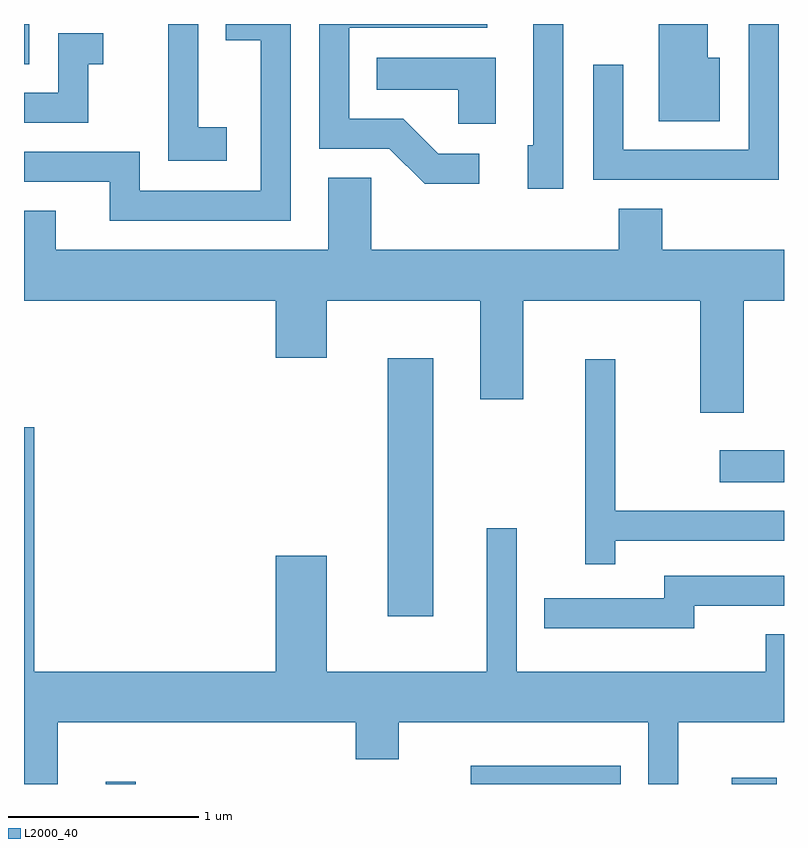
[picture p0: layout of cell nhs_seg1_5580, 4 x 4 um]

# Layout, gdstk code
import gdstk
lib = gdstk.Library(unit=1e-6, precision=1e-09)
def R(c, l, rs):  # rectangles x0, y0, x1, y1
    for r in rs: c.add(gdstk.rectangle(r[:2], r[2:], *l))
def P(c, l, *ps):  # polygons
    for p in ps: c.add(gdstk.Polygon(p, *l))
L2000_40 = (2000, 40)

nhs_seg1_5580 = lib.new_cell('nhs_seg1_5580')
R(nhs_seg1_5580, L2000_40, [(354.041,883.712,354.199,883.723), (355.961,883.712,356.753,883.809), (357.336,883.712,357.574,883.744), (355.526,884.596,355.764,885.954), (357.273,885.301,357.611,885.469), (353.611,887.501,353.639,887.712)])
P(nhs_seg1_5580, L2000_40, [(356.008,887.029),(355.792,887.029),(355.607,887.214),(355.324,887.214),(355.324,887.691),(356.048,887.691),(356.048,887.712),(355.166,887.712),(355.166,887.056),(355.534,887.056),(355.719,886.871),(356.008,886.871)],
  [(356.449,887.712),(356.291,887.712),(356.291,887.074),(356.261,887.074),(356.261,886.846),(356.449,886.846)],
  [(355.014,887.712),(354.673,887.712),(354.673,887.626),(354.856,887.626),(354.856,886.834),(354.219,886.834),(354.219,887.039),(353.611,887.039),(353.611,886.881),(354.061,886.881),(354.061,886.676),(355.014,886.676)],
  [(357.274,887.534),(357.209,887.534),(357.209,887.712),(356.951,887.712),(356.951,887.201),(357.274,887.201)],
  [(354.679,887.169),(354.529,887.169),(354.529,887.712),(354.371,887.712),(354.371,886.991),(354.679,886.991)],
  [(357.584,887.712),(357.426,887.712),(357.426,887.049),(356.764,887.049),(356.764,887.498),(356.606,887.498),(356.606,886.891),(357.584,886.891)],
  [(353.949,887.501),(354.028,887.501),(354.028,887.664),(353.791,887.664),(353.791,887.349),(353.611,887.349),(353.611,887.191),(353.949,887.191)],
  [(356.094,887.534),(355.468,887.534),(355.468,887.366),(355.896,887.366),(355.896,887.186),(356.094,887.186)],
  [(357.399,886.256),(357.611,886.256),(357.611,886.524),(356.969,886.524),(356.969,886.739),(356.741,886.739),(356.741,886.524),(355.439,886.524),(355.439,886.904),(355.211,886.904),(355.211,886.524),(353.779,886.524),(353.779,886.729),(353.611,886.729),(353.611,886.256),(354.936,886.256),(354.936,885.956),(355.204,885.956),(355.204,886.256),(356.011,886.256),(356.011,885.736),(356.239,885.736),(356.239,886.256),(357.171,886.256),(357.171,885.666),(357.399,885.666)],
  [(356.724,884.991),(357.611,884.991),(357.611,885.149),(356.724,885.149),(356.724,885.948),(356.566,885.948),(356.566,884.868),(356.724,884.868)],
  [(353.789,884.036),(355.356,884.036),(355.356,883.841),(355.584,883.841),(355.584,884.036),(356.896,884.036),(356.896,883.712),(357.054,883.712),(357.054,884.036),(357.611,884.036),(357.611,884.499),(357.516,884.499),(357.516,884.304),(356.204,884.304),(356.204,885.058),(356.046,885.058),(356.046,884.304),(355.204,884.304),(355.204,884.914),(354.936,884.914),(354.936,884.304),(353.664,884.304),(353.664,885.589),(353.611,885.589),(353.611,883.712),(353.789,883.712)],
  [(357.139,884.651),(357.611,884.651),(357.611,884.809),(356.981,884.809),(356.981,884.689),(356.348,884.689),(356.348,884.531),(357.139,884.531)])

lib.write_gds('nhs_seg1_5580.gds')
